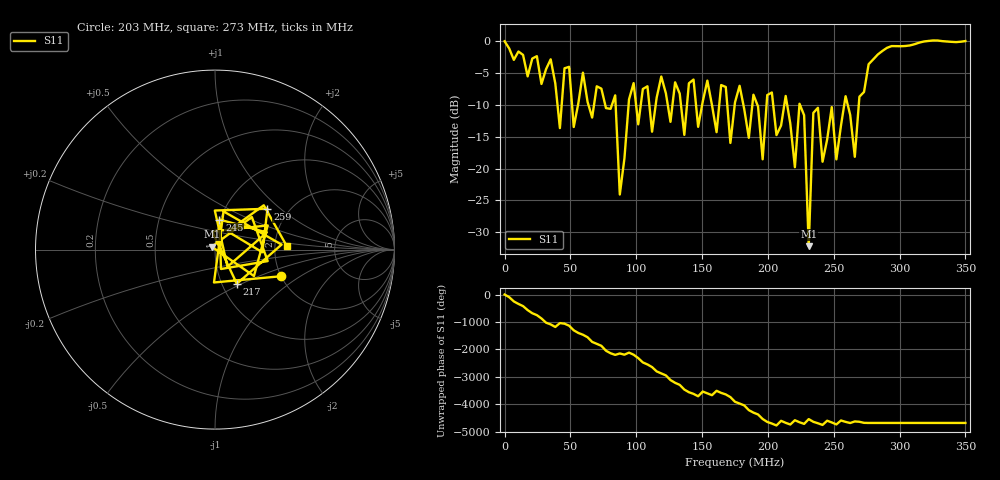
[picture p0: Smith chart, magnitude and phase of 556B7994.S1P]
!File created by NanoVNA
# Hz S RI R 50
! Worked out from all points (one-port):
!   101 points, 50 kHz to 350 MHz, reference 50 ohm
!   lowest |S11| = -32.2 dB at 231 MHz (marker M1), VSWR 1.05, Z = 48.2 + j1.56 ohm
!   |S11| at or under -10 dB: 76.47 MHz to 81.55 MHz (5.081 MHz wide, 6.43 % of centre); 84.38 MHz to 94.21 MHz (9.832 MHz wide, 11 % of centre); 224.4 MHz to 258 MHz (33.59 MHz wide, 13.9 % of centre) (the widest 3 of 18)
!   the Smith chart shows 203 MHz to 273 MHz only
!   S11 on the Smith chart (normalised r, x): 203 MHz: 2.00, -0.70; 217 MHz: 1.17, -0.47; 245 MHz: 0.99, +0.34; 259 MHz: 1.56, +0.82; 273 MHz: 2.33, +0.11
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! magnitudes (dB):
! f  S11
! 50 kHz  0.0
! 35.05 MHz  -2.8
! 42.04 MHz  -13.6
! 45.54 MHz  -4.2
! 52.54 MHz  -13.5
! 59.54 MHz  -4.9
! 84.04 MHz  -8.5
! 87.54 MHz  -24.1
! 98.04 MHz  -6.6
! 112 MHz  -14.2
! 119 MHz  -5.5
! 133 MHz  -8.2
! 175 MHz  -9.6
! 189 MHz  -8.4
! 196 MHz  -18.5
! 203 MHz  -8.0
! 217 MHz  -12.9
! 220.5 MHz  -19.8
! 227.5 MHz  -11.6
! 231 MHz  -32.2
! 234.5 MHz  -11.2
! 245 MHz  -15.4
! 259 MHz  -8.6
! 262.5 MHz  -11.6
! 266 MHz  -18.2
! 273 MHz  -8.0
! 308 MHz  -0.6
! 350 MHz  0.0
